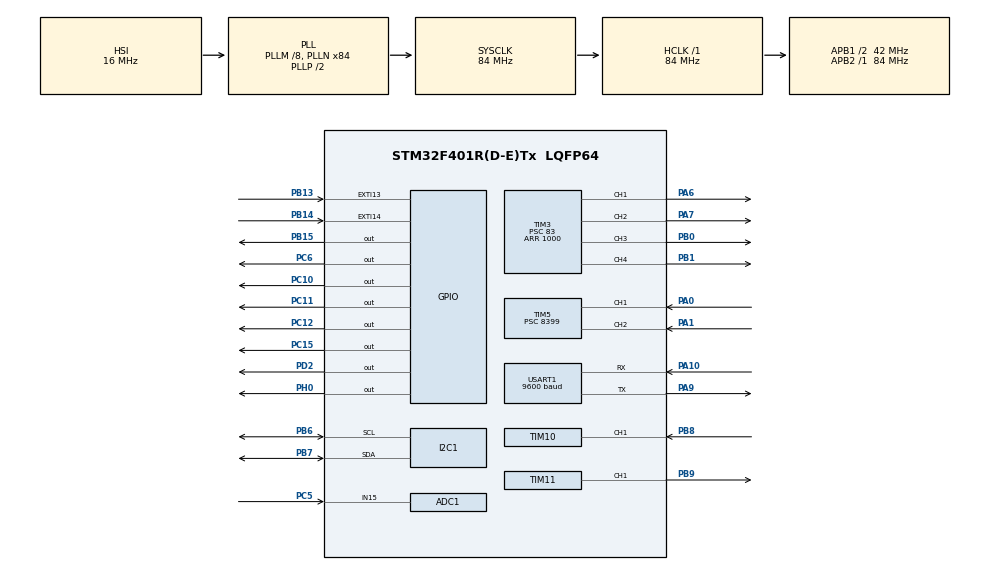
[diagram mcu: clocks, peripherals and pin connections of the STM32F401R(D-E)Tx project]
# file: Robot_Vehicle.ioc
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ADC1.Channel-4\#ChannelRegularConversion=ADC_CHANNEL_15
ADC1.ContinuousConvMode=ENABLE
ADC1.DMAContinuousRequests=ENABLE
ADC1.NbrOfConversionFlag=1
ADC1.Rank-4\#ChannelRegularConversion=1
ADC1.Resolution=ADC_RESOLUTION_8B
ADC1.SamplingTime-4\#ChannelRegularConversion=ADC_SAMPLETIME_3CYCLES
ADC1.ScanConvMode=ENABLE
ADC1.master=1
Dma.ADC1.2.Direction=DMA_PERIPH_TO_MEMORY
Dma.ADC1.2.FIFOMode=DMA_FIFOMODE_DISABLE
Dma.ADC1.2.Instance=DMA2_Stream0
Dma.ADC1.2.MemDataAlignment=DMA_MDATAALIGN_BYTE
Dma.ADC1.2.MemInc=DMA_MINC_DISABLE
Dma.ADC1.2.Mode=DMA_CIRCULAR
Dma.ADC1.2.PeriphDataAlignment=DMA_PDATAALIGN_BYTE
Dma.ADC1.2.PeriphInc=DMA_PINC_DISABLE
Dma.ADC1.2.Priority=DMA_PRIORITY_LOW
Dma.Request0=TIM5_CH1
Dma.Request1=TIM5_CH2
Dma.Request2=ADC1
Dma.TIM5_CH1.0.Direction=DMA_PERIPH_TO_MEMORY
Dma.TIM5_CH1.0.FIFOMode=DMA_FIFOMODE_DISABLE
Dma.TIM5_CH1.0.Instance=DMA1_Stream2
Dma.TIM5_CH1.0.MemDataAlignment=DMA_MDATAALIGN_WORD
Dma.TIM5_CH1.0.MemInc=DMA_MINC_DISABLE
Dma.TIM5_CH1.0.Mode=DMA_CIRCULAR
Dma.TIM5_CH1.0.PeriphDataAlignment=DMA_PDATAALIGN_WORD
Dma.TIM5_CH1.0.PeriphInc=DMA_PINC_DISABLE
Dma.TIM5_CH1.0.Priority=DMA_PRIORITY_LOW
Dma.TIM5_CH2.1.Direction=DMA_PERIPH_TO_MEMORY
Dma.TIM5_CH2.1.FIFOMode=DMA_FIFOMODE_DISABLE
Dma.TIM5_CH2.1.Instance=DMA1_Stream4
Dma.TIM5_CH2.1.MemDataAlignment=DMA_MDATAALIGN_WORD
Dma.TIM5_CH2.1.MemInc=DMA_MINC_DISABLE
Dma.TIM5_CH2.1.Mode=DMA_CIRCULAR
Dma.TIM5_CH2.1.PeriphDataAlignment=DMA_PDATAALIGN_WORD
Dma.TIM5_CH2.1.PeriphInc=DMA_PINC_DISABLE
Dma.TIM5_CH2.1.Priority=DMA_PRIORITY_LOW
FREERTOS.INCLUDE_eTaskGetState=0
FREERTOS.INCLUDE_xEventGroupSetBitFromISR=1
FREERTOS.INCLUDE_xTaskGetHandle=1
FREERTOS.INCLUDE_xTimerPendFunctionCall=1
FREERTOS.Tasks01=UltrasonicDistance,0,128,ultrasonic_dis,Default,NULL,Dynamic,NULL,NULL;LineTracking,0,128,line_tracking,Default,NULL,Dynamic,NULL,NULL;Accelerometer,0,160,accelerometer,Default,NULL,Dynamic,NULL,NULL;Motors,0,400,motors,Default,NULL,Dynamic,NULL,NULL;Encoders,0,200,encoders,Default,NULL,Dynamic,NULL,NULL;UART_task,0,128,uart_task,Default,NULL,Dynamic,NULL,NULL;PID_regulation,0,200,pid,Default,NULL,Dynamic,NULL,NULL
FREERTOS.configMAX_TASK_NAME_LEN=24
FREERTOS.configTIMER_TASK_PRIORITY=3
FREERTOS.configTIMER_TASK_STACK_DEPTH=128
FREERTOS.configTOTAL_HEAP_SIZE=9000
FREERTOS.configUSE_IDLE_HOOK=1
FREERTOS.configUSE_TIMERS=1
I2C1.I2C_Mode=I2C_Standard
Mcu.Family=STM32F4
Mcu.Name=STM32F401R(D-E)Tx
Mcu.Package=LQFP64
NVIC.DMA1_Stream2_IRQn=true\:5\:0\:false\:false\:true\:true\:true\:true\:true
NVIC.DMA1_Stream4_IRQn=true\:5\:0\:false\:false\:true\:true\:true\:true\:true
NVIC.EXTI15_10_IRQn=true\:5\:0\:false\:false\:true\:true\:true\:true\:true
NVIC.PriorityGroup=NVIC_PRIORITYGROUP_4
NVIC.TIM1_TRG_COM_TIM11_IRQn=true\:5\:0\:false\:false\:true\:true\:true\:true\:true
NVIC.TIM1_UP_TIM10_IRQn=true\:5\:0\:false\:false\:true\:true\:true\:true\:true
NVIC.TIM2_IRQn=true\:1\:0\:true\:false\:true\:false\:false\:true\:true
NVIC.TimeBase=TIM2_IRQn
NVIC.TimeBaseIP=TIM2
NVIC.USART1_IRQn=true\:5\:0\:false\:false\:true\:true\:true\:true\:true
PA0-WKUP.Signal=S_TIM5_CH1
PA1.Signal=S_TIM5_CH2
PA10.Mode=Asynchronous
PA10.Signal=USART1_RX
PA13.Mode=Serial_Wire
PA13.Signal=SYS_JTMS-SWDIO
PA14.Mode=Serial_Wire
PA14.Signal=SYS_JTCK-SWCLK
PA6.GPIO_PuPd=GPIO_PULLUP
PA6.GPIO_Speed=GPIO_SPEED_FREQ_HIGH
PA6.Signal=S_TIM3_CH1
PA7.GPIO_PuPd=GPIO_PULLUP
PA7.GPIO_Speed=GPIO_SPEED_FREQ_HIGH
PA7.Signal=S_TIM3_CH2
PA9.Mode=Asynchronous
PA9.Signal=USART1_TX
PB0.GPIO_PuPd=GPIO_PULLUP
PB0.GPIO_Speed=GPIO_SPEED_FREQ_HIGH
PB0.Signal=S_TIM3_CH3
PB1.GPIO_PuPd=GPIO_PULLUP
PB1.GPIO_Speed=GPIO_SPEED_FREQ_HIGH
PB1.Signal=S_TIM3_CH4
PB13.GPIO_PuPd=GPIO_PULLDOWN
PB13.Signal=GPXTI13
PB14.GPIO_PuPd=GPIO_PULLDOWN
PB14.Signal=GPXTI14
PB15.Signal=GPIO_Output
PB6.Mode=I2C
PB6.Signal=I2C1_SCL
PB7.Mode=I2C
PB7.Signal=I2C1_SDA
PB8.GPIO_PuPd=GPIO_PULLDOWN
PB8.GPIO_Speed=GPIO_SPEED_FREQ_MEDIUM
PB8.Signal=S_TIM10_CH1
PB9.GPIO_PuPd=GPIO_PULLDOWN
PB9.GPIO_Speed=GPIO_SPEED_FREQ_HIGH
PB9.Signal=S_TIM11_CH1
PC10.Signal=GPIO_Output
PC11.Signal=GPIO_Output
PC12.Signal=GPIO_Output
PC15-OSC32_OUT.GPIO_PuPd=GPIO_NOPULL
PC15-OSC32_OUT.PinState=GPIO_PIN_RESET
PC15-OSC32_OUT.Signal=GPIO_Output
PC5.Signal=ADCx_IN15
PC6.GPIO_PuPd=GPIO_NOPULL
PC6.Signal=GPIO_Output
PD2.Signal=GPIO_Output
PH0\ -\ OSC_IN.GPIO_PuPd=GPIO_NOPULL
PH0\ -\ OSC_IN.PinState=GPIO_PIN_RESET
PH0\ -\ OSC_IN.Signal=GPIO_Output
ProjectManager.HeapSize=0x200
ProjectManager.StackSize=0x400
ProjectManager.TargetToolchain=STM32CubeIDE
RCC.48MHZClocksFreq_Value=42000000
RCC.AHBFreq_Value=84000000
RCC.APB1CLKDivider=RCC_HCLK_DIV2
RCC.APB1Freq_Value=42000000
RCC.APB1TimFreq_Value=84000000
RCC.APB2Freq_Value=84000000
RCC.APB2TimFreq_Value=84000000
RCC.CortexFreq_Value=84000000
RCC.HCLKFreq_Value=84000000
RCC.HSE_VALUE=25000000
RCC.HSI_VALUE=16000000
RCC.LSE_VALUE=32768
RCC.PLLM=8
RCC.PLLN=84
RCC.SYSCLKFreq_VALUE=84000000
RCC.SYSCLKSource=RCC_SYSCLKSOURCE_PLLCLK
RCC.VCOOutputFreq_Value=168000000
SH.ADCx_IN15.0=ADC1_IN15,IN15
SH.S_TIM10_CH1.0=TIM10_CH1,Input_Capture1_from_TI1
SH.S_TIM11_CH1.0=TIM11_CH1,PWM Generation1 CH1
SH.S_TIM3_CH1.0=TIM3_CH1,PWM Generation1 CH1
SH.S_TIM3_CH2.0=TIM3_CH2,PWM Generation2 CH2
SH.S_TIM3_CH3.0=TIM3_CH3,PWM Generation3 CH3
SH.S_TIM3_CH4.0=TIM3_CH4,PWM Generation4 CH4
SH.S_TIM5_CH1.0=TIM5_CH1,Input_Capture1_from_TI1
SH.S_TIM5_CH2.0=TIM5_CH2,Input_Capture2_from_TI2
TIM10.AutoReloadPreload=TIM_AUTORELOAD_PRELOAD_ENABLE
TIM10.Channel=TIM_CHANNEL_1
TIM10.ICFilter_CH1=0
TIM10.ICPolarity_CH1=TIM_INPUTCHANNELPOLARITY_BOTHEDGE
TIM10.Prescaler=194
TIM11.AutoReloadPreload=TIM_AUTORELOAD_PRELOAD_ENABLE
TIM11.Channel=TIM_CHANNEL_1
TIM11.OCPolarity_1=TIM_OCPOLARITY_HIGH
TIM11.Period=10000
TIM11.Prescaler=31
TIM11.Pulse=20
TIM3.AutoReloadPreload=TIM_AUTORELOAD_PRELOAD_ENABLE
TIM3.Channel-PWM\ Generation1\ CH1=TIM_CHANNEL_1
TIM3.Channel-PWM\ Generation2\ CH2=TIM_CHANNEL_2
TIM3.Channel-PWM\ Generation3\ CH3=TIM_CHANNEL_3
TIM3.Channel-PWM\ Generation4\ CH4=TIM_CHANNEL_4
TIM3.OCMode_PWM-PWM\ Generation1\ CH1=TIM_OCMODE_PWM2
TIM3.OCMode_PWM-PWM\ Generation2\ CH2=TIM_OCMODE_PWM2
TIM3.OCMode_PWM-PWM\ Generation3\ CH3=TIM_OCMODE_PWM2
TIM3.OCMode_PWM-PWM\ Generation4\ CH4=TIM_OCMODE_PWM2
TIM3.Period=1000
TIM3.Prescaler=83
TIM3.Pulse-PWM\ Generation1\ CH1=0
TIM3.Pulse-PWM\ Generation2\ CH2=0
TIM3.Pulse-PWM\ Generation3\ CH3=0
TIM3.Pulse-PWM\ Generation4\ CH4=0
TIM5.AutoReloadPreload=TIM_AUTORELOAD_PRELOAD_ENABLE
TIM5.Channel-Input_Capture1_from_TI1=TIM_CHANNEL_1
TIM5.Channel-Input_Capture2_from_TI2=TIM_CHANNEL_2
TIM5.ICPolarity_CH1=TIM_INPUTCHANNELPOLARITY_BOTHEDGE
TIM5.ICPolarity_CH2=TIM_INPUTCHANNELPOLARITY_BOTHEDGE
TIM5.Prescaler=8399
USART1.BaudRate=9600
USART1.VirtualMode=VM_ASYNC
VP_FREERTOS_VS_CMSIS_V1.Mode=CMSIS_V1
VP_SYS_VS_tim2.Mode=TIM2
VP_TIM10_VS_ClockSourceINT.Mode=Enable_Timer
VP_TIM11_VS_ClockSourceINT.Mode=Enable_Timer
VP_TIM3_VS_ClockSourceINT.Mode=Internal
board=custom

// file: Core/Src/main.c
/* USER CODE BEGIN Header */
/**
  ******************************************************************************
  * @file           : main.c
  * @brief          : Main program body
  ******************************************************************************
  * @attention
  *
  * Copyright (c) 2023 STMicroelectronics.
  * All rights reserved.
  *
  * This software is licensed under terms that can be found in the LICENSE file
  * in the root directory of this software component.
  * If no LICENSE file comes with this software, it is provided AS-IS.
  *
  ******************************************************************************
  */
/* USER CODE END Header */
#include "main.h"
#include "cmsis_os.h"

/* USER CODE BEGIN Includes */
#include "mma8452x.h"
#include <stdio.h>
#include <string.h>
#include <stdbool.h>
#include <math.h>
/* USER CODE END Includes */

/* USER CODE BEGIN PD */
#define MMA8452X_I2C_ADDRESS (0x1D<<1)
#define WHEEL_PERIMETER 204000000  // 204mm or 204000um or 204 000 000 nm
#define KP 0.4
#define KI 0.003
#define KD 0.1
/* USER CODE END PD */

ADC_HandleTypeDef hadc1;
DMA_HandleTypeDef hdma_adc1;

I2C_HandleTypeDef hi2c1;

TIM_HandleTypeDef htim3;
TIM_HandleTypeDef htim5;
TIM_HandleTypeDef htim10;
TIM_HandleTypeDef htim11;
DMA_HandleTypeDef hdma_tim5_ch1;
DMA_HandleTypeDef hdma_tim5_ch2;

UART_HandleTypeDef huart1;

osThreadId UltrasonicDistanceHandle;
osThreadId LineTrackingHandle;
osThreadId AccelerometerHandle;
osThreadId MotorsHandle;
osThreadId EncodersHandle;
osThreadId UART_taskHandle;
osThreadId PID_regulationHandle;
/* USER CODE BEGIN PV */
typedef struct
{
	QueueHandle_t xQueue1_ultrs;
	uint16_t distance_ultrs;
	TimerHandle_t xTimer1_ultrs;
	char instruction_for_motors[11];
	QueueHandle_t xQueue2_instr4m;
	int x;
	int y;
	int pw;
	uint16_t wanted_speedA;
	uint16_t wanted_speedB;
	uint32_t encod_dataA;
	uint32_t encod_dataB;
	uint32_t encod_olddataA;
	uint32_t encod_olddataB;
	uint32_t encod_timeA;
	uint32_t encod_timeB;
	int32_t angular_speedA;
	int32_t angular_speedB;
	TimerHandle_t xTimer2_encod;
	uint8_t line_data;
	int8_t accelerm_data[6];
	EventGroupHandle_t xEventGroup1;
}buffer_global_type;
buffer_global_type buffer;

/* USER CODE END PV */

void SystemClock_Config(void);
static void MX_GPIO_Init(void);
static void MX_DMA_Init(void);
static void MX_TIM10_Init(void);
static void MX_USART1_UART_Init(void);
static void MX_TIM11_Init(void);
static void MX_TIM3_Init(void);
static void MX_I2C1_Init(void);
static void MX_TIM5_Init(void);
static void MX_ADC1_Init(void);
void ultrasonic_dis(void const * argument);
void line_tracking(void const * argument);
void accelerometer(void const * argument);
void motors(void const * argument);
void encoders(void const * argument);
void uart_task(void const * argument);
void pid(void const * argument);

/* USER CODE BEGIN PFP */
void HAL_TIM_IC_CaptureCallback (TIM_HandleTypeDef * htim);
void HAL_TIM_PWM_PulseFinishedCallback (TIM_HandleTypeDef * htim);
void vApplicationIdleHook(void);
void vCallbackFunctionTimer1( TimerHandle_t xTimer );
void UART_RxCallback (UART_HandleTypeDef * huart);
void DMA1_Stream2_Callback(DMA_HandleTypeDef*);
void DMA1_Stream4_Callback(DMA_HandleTypeDef*);
void vCallbackFunctionTimer2( TimerHandle_t xTimer );
/* USER CODE END PFP */

int main(void)
{
  /* USER CODE BEGIN 1 */
	buffer.x = 50;
    buffer.y = 50;
  /* USER CODE END 1 */

  /* MCU Configuration--------------------------------------------------------*/

  /* Reset of all peripherals, Initializes the Flash interface and the Systick. */
  HAL_Init();

  /* Configure the system clock */
  SystemClock_Config();

  /* Initialize all configured peripherals */
  MX_GPIO_Init();
  MX_DMA_Init();
  MX_TIM10_Init();
  MX_USART1_UART_Init();
  MX_TIM11_Init();
  MX_TIM3_Init();
  MX_I2C1_Init();
  MX_TIM5_Init();
  MX_ADC1_Init();
  /* USER CODE BEGIN 2 */
  HAL_I2C_DeInit(&hi2c1);
  HAL_TIM_IC_Start_IT(&htim10, TIM_CHANNEL_1);
  GPIOC->ODR |= GPIO_ODR_OD10;
  GPIOC->ODR |= GPIO_ODR_OD12;
  GPIOC->ODR |= GPIO_ODR_OD11;
  GPIOD->ODR |= GPIO_ODR_OD2;
  GPIOB->ODR |= GPIO_ODR_OD15;
  GPIOC->ODR |= GPIO_ODR_OD6;
  if (HAL_DMA_Init(&hdma_adc1) != HAL_OK)
  {
    Error_Handler();
  }

  __HAL_LINKDMA(&hadc1,DMA_Handle,hdma_adc1);
  HAL_ADC_Start_DMA(&hadc1, (uint32_t*)&buffer.line_data, 1);

  SCB->CCR |= (1<<1); //Bit 1 USERSETMPEND Enables unprivileged software access to the STIR, see Software trigger interrupt register (NVIC_STIR)

  HAL_TIM_IC_Start_DMA(&htim5, TIM_CHANNEL_1, &buffer.encod_dataA, sizeof(buffer.encod_dataA));
  HAL_TIM_IC_Start_DMA(&htim5, TIM_CHANNEL_2, &buffer.encod_dataB, sizeof(buffer.encod_dataB));
  HAL_TIM_PWM_Start(&htim3, TIM_CHANNEL_2);
  HAL_TIM_PWM_Start(&htim3, TIM_CHANNEL_4);

  while((FLASH->SR & FLASH_SR_BSY) == (1<<16))
  {
	  HAL_Delay(1);
  }
  HAL_FLASH_Unlock();
  //Sector 6 0x0804 0000 - 0x0805 FFFF 128 Kbytes
  FLASH_EraseInitTypeDef pEraseInit =
		  {
				  FLASH_TYPEERASE_SECTORS,
				  FLASH_BANK_1,
				  FLASH_SECTOR_6,
				  1,
				  FLASH_VOLTAGE_RANGE_2
		  };
  uint32_t SectorError = 0;
  uint8_t* reset_state = 0x08040000; // Start of Sector 6 in FLASH
  if(*reset_state == 0xFF)
  {
	  HAL_FLASH_Program(FLASH_TYPEPROGRAM_BYTE, (uint32_t)reset_state, 0x00);
	  // Perform software reset
	  NVIC_SystemReset();
  }
  HAL_FLASHEx_Erase(&pEraseInit, &SectorError);
  HAL_Delay(1500);
  HAL_FLASH_Lock();

  buffer.xEventGroup1 = xEventGroupCreate();
  /* USER CODE END 2 */

  /* USER CODE BEGIN RTOS_TIMERS */
  /* start timers, add new ones, ... */
  buffer.xTimer1_ultrs = xTimerCreate("Timer ultrs trigger", pdMS_TO_TICKS( 40 ), pdTRUE, ( void * ) 0, vCallbackFunctionTimer1);
  xTimerStart(buffer.xTimer1_ultrs, portMAX_DELAY);

  buffer.xTimer2_encod = xTimerCreate("Timer encoder", pdMS_TO_TICKS( 10 ), pdTRUE, ( void * ) 0, vCallbackFunctionTimer2);
  xTimerStart(buffer.xTimer2_encod, portMAX_DELAY);
  /* USER CODE END RTOS_TIMERS */

  /* USER CODE BEGIN RTOS_QUEUES */
  /* add queues, ... */
  buffer.xQueue1_ultrs = xQueueCreate(10, sizeof(uint16_t));
  buffer.xQueue2_instr4m = xQueueCreate(40, sizeof(uint8_t));

  /* USER CODE END RTOS_QUEUES */

  /* Create the thread(s) */
  /* definition and creation of UltrasonicDistance */
  osThreadDef(UltrasonicDistance, ultrasonic_dis, osPriorityNormal, 0, 128);
  UltrasonicDistanceHandle = osThreadCreate(osThread(UltrasonicDistance), NULL);

  /* definition and creation of LineTracking */
  osThreadDef(LineTracking, line_tracking, osPriorityNormal, 0, 128);
  LineTrackingHandle = osThreadCreate(osThread(LineTracking), NULL);

  /* definition and creation of Accelerometer */
  osThreadDef(Accelerometer, accelerometer, osPriorityNormal, 0, 160);
  AccelerometerHandle = osThreadCreate(osThread(Accelerometer), NULL);

  /* definition and creation of Motors */
  osThreadDef(Motors, motors, osPriorityNormal, 0, 400);
  MotorsHandle = osThreadCreate(osThread(Motors), NULL);

  /* definition and creation of Encoders */
  osThreadDef(Encoders, encoders, osPriorityNormal, 0, 200);
  EncodersHandle = osThreadCreate(osThread(Encoders), NULL);

  /* definition and creation of UART_task */
  osThreadDef(UART_task, uart_task, osPriorityNormal, 0, 128);
  UART_taskHandle = osThreadCreate(osThread(UART_task), NULL);

  /* definition and creation of PID_regulation */
  osThreadDef(PID_regulation, pid, osPriorityNormal, 0, 200);
  PID_regulationHandle = osThreadCreate(osThread(PID_regulation), NULL);

  /* Start scheduler */
  osKernelStart();
  /* We should never get here as control is now taken by the scheduler */
  /* Infinite loop */
  while (1)
  {

  }
}

void SystemClock_Config(void)
{
  RCC_OscInitTypeDef RCC_OscInitStruct = {0};
  RCC_ClkInitTypeDef RCC_ClkInitStruct = {0};

  /** Configure the main internal regulator output voltage
  */
  __HAL_RCC_PWR_CLK_ENABLE();
  __HAL_PWR_VOLTAGESCALING_CONFIG(PWR_REGULATOR_VOLTAGE_SCALE2);

  /** Initializes the RCC Oscillators according to the specified parameters
  * in the RCC_OscInitTypeDef structure.
  */
  RCC_OscInitStruct.OscillatorType = RCC_OSCILLATORTYPE_HSI;
  RCC_OscInitStruct.HSIState = RCC_HSI_ON;
  RCC_OscInitStruct.HSICalibrationValue = RCC_HSICALIBRATION_DEFAULT;
  RCC_OscInitStruct.PLL.PLLState = RCC_PLL_ON;
  RCC_OscInitStruct.PLL.PLLSource = RCC_PLLSOURCE_HSI;
  RCC_OscInitStruct.PLL.PLLM = 8;
  RCC_OscInitStruct.PLL.PLLN = 84;
  RCC_OscInitStruct.PLL.PLLP = RCC_PLLP_DIV2;
  RCC_OscInitStruct.PLL.PLLQ = 4;
  if (HAL_RCC_OscConfig(&RCC_OscInitStruct) != HAL_OK)
  {
    Error_Handler();
  }

  /** Initializes the CPU, AHB and APB buses clocks
  */
  RCC_ClkInitStruct.ClockType = RCC_CLOCKTYPE_HCLK|RCC_CLOCKTYPE_SYSCLK
                              |RCC_CLOCKTYPE_PCLK1|RCC_CLOCKTYPE_PCLK2;
  RCC_ClkInitStruct.SYSCLKSource = RCC_SYSCLKSOURCE_PLLCLK;
  RCC_ClkInitStruct.AHBCLKDivider = RCC_SYSCLK_DIV1;
  RCC_ClkInitStruct.APB1CLKDivider = RCC_HCLK_DIV2;
  RCC_ClkInitStruct.APB2CLKDivider = RCC_HCLK_DIV1;

  if (HAL_RCC_ClockConfig(&RCC_ClkInitStruct, FLASH_LATENCY_2) != HAL_OK)
  {
    Error_Handler();
  }
}

static void MX_ADC1_Init(void)
{

  ADC_ChannelConfTypeDef sConfig = {0};

  /** Configure the global features of the ADC (Clock, Resolution, Data Alignment and number of conversion)
  */
  hadc1.Instance = ADC1;
  hadc1.Init.ClockPrescaler = ADC_CLOCK_SYNC_PCLK_DIV4;
  hadc1.Init.Resolution = ADC_RESOLUTION_8B;
  hadc1.Init.ScanConvMode = ENABLE;
  hadc1.Init.ContinuousConvMode = ENABLE;
  hadc1.Init.DiscontinuousConvMode = DISABLE;
  hadc1.Init.ExternalTrigConvEdge = ADC_EXTERNALTRIGCONVEDGE_NONE;
  hadc1.Init.ExternalTrigConv = ADC_SOFTWARE_START;
  hadc1.Init.DataAlign = ADC_DATAALIGN_RIGHT;
  hadc1.Init.NbrOfConversion = 1;
  hadc1.Init.DMAContinuousRequests = ENABLE;
  hadc1.Init.EOCSelection = ADC_EOC_SINGLE_CONV;
  if (HAL_ADC_Init(&hadc1) != HAL_OK)
  {
    Error_Handler();
  }

  /** Configure for the selected ADC regular channel its corresponding rank in the sequencer and its sample time.
  */
  sConfig.Channel = ADC_CHANNEL_15;
  sConfig.Rank = 1;
  sConfig.SamplingTime = ADC_SAMPLETIME_3CYCLES;
  if (HAL_ADC_ConfigChannel(&hadc1, &sConfig) != HAL_OK)
  {
    Error_Handler();
  }

}

static void MX_I2C1_Init(void)
{

  hi2c1.Instance = I2C1;
  hi2c1.Init.ClockSpeed = 100000;
  hi2c1.Init.DutyCycle = I2C_DUTYCYCLE_2;
  hi2c1.Init.OwnAddress1 = 0;
  hi2c1.Init.AddressingMode = I2C_ADDRESSINGMODE_7BIT;
  hi2c1.Init.DualAddressMode = I2C_DUALADDRESS_DISABLE;
  hi2c1.Init.OwnAddress2 = 0;
  hi2c1.Init.GeneralCallMode = I2C_GENERALCALL_DISABLE;
  hi2c1.Init.NoStretchMode = I2C_NOSTRETCH_DISABLE;
  if (HAL_I2C_Init(&hi2c1) != HAL_OK)
  {
    Error_Handler();
  }

}

static void MX_TIM3_Init(void)
{

  TIM_ClockConfigTypeDef sClockSourceConfig = {0};
  TIM_MasterConfigTypeDef sMasterConfig = {0};
  TIM_OC_InitTypeDef sConfigOC = {0};

  htim3.Instance = TIM3;
  htim3.Init.Prescaler = 83;
  htim3.Init.CounterMode = TIM_COUNTERMODE_UP;
  htim3.Init.Period = 1000;
  htim3.Init.ClockDivision = TIM_CLOCKDIVISION_DIV1;
  htim3.Init.AutoReloadPreload = TIM_AUTORELOAD_PRELOAD_ENABLE;
  if (HAL_TIM_Base_Init(&htim3) != HAL_OK)
  {
    Error_Handler();
  }
  sClockSourceConfig.ClockSource = TIM_CLOCKSOURCE_INTERNAL;
  if (HAL_TIM_ConfigClockSource(&htim3, &sClockSourceConfig) != HAL_OK)
  {
    Error_Handler();
  }
  if (HAL_TIM_PWM_Init(&htim3) != HAL_OK)
  {
    Error_Handler();
  }
  sMasterConfig.MasterOutputTrigger = TIM_TRGO_RESET;
  sMasterConfig.MasterSlaveMode = TIM_MASTERSLAVEMODE_DISABLE;
  if (HAL_TIMEx_MasterConfigSynchronization(&htim3, &sMasterConfig) != HAL_OK)
  {
    Error_Handler();
  }
  sConfigOC.OCMode = TIM_OCMODE_PWM2;
  sConfigOC.Pulse = 0;
  sConfigOC.OCPolarity = TIM_OCPOLARITY_HIGH;
  sConfigOC.OCFastMode = TIM_OCFAST_DISABLE;
  if (HAL_TIM_PWM_ConfigChannel(&htim3, &sConfigOC, TIM_CHANNEL_1) != HAL_OK)
  {
    Error_Handler();
  }
  if (HAL_TIM_PWM_ConfigChannel(&htim3, &sConfigOC, TIM_CHANNEL_2) != HAL_OK)
  {
    Error_Handler();
  }
  if (HAL_TIM_PWM_ConfigChannel(&htim3, &sConfigOC, TIM_CHANNEL_3) != HAL_OK)
  {
    Error_Handler();
  }
  if (HAL_TIM_PWM_ConfigChannel(&htim3, &sConfigOC, TIM_CHANNEL_4) != HAL_OK)
  {
    Error_Handler();
  }
  HAL_TIM_MspPostInit(&htim3);

}

static void MX_TIM5_Init(void)
{

  TIM_MasterConfigTypeDef sMasterConfig = {0};
  TIM_IC_InitTypeDef sConfigIC = {0};

  htim5.Instance = TIM5;
  htim5.Init.Prescaler = 8399;
  htim5.Init.CounterMode = TIM_COUNTERMODE_UP;
  htim5.Init.Period = 4294967295;
  htim5.Init.ClockDivision = TIM_CLOCKDIVISION_DIV1;
  htim5.Init.AutoReloadPreload = TIM_AUTORELOAD_PRELOAD_ENABLE;
  if (HAL_TIM_IC_Init(&htim5) != HAL_OK)
  {
    Error_Handler();
  }
  sMasterConfig.MasterOutputTrigger = TIM_TRGO_RESET;
  sMasterConfig.MasterSlaveMode = TIM_MASTERSLAVEMODE_DISABLE;
  if (HAL_TIMEx_MasterConfigSynchronization(&htim5, &sMasterConfig) != HAL_OK)
  {
    Error_Handler();
  }
  sConfigIC.ICPolarity = TIM_INPUTCHANNELPOLARITY_BOTHEDGE;
  sConfigIC.ICSelection = TIM_ICSELECTION_DIRECTTI;
  sConfigIC.ICPrescaler = TIM_ICPSC_DIV1;
  sConfigIC.ICFilter = 0;
  if (HAL_TIM_IC_ConfigChannel(&htim5, &sConfigIC, TIM_CHANNEL_1) != HAL_OK)
  {
    Error_Handler();
  }
  if (HAL_TIM_IC_ConfigChannel(&htim5, &sConfigIC, TIM_CHANNEL_2) != HAL_OK)
  {
    Error_Handler();
  }

}

static void MX_TIM10_Init(void)
{

  TIM_IC_InitTypeDef sConfigIC = {0};

  htim10.Instance = TIM10;
  htim10.Init.Prescaler = 194;
  htim10.Init.CounterMode = TIM_COUNTERMODE_UP;
  htim10.Init.Period = 65535;
  htim10.Init.ClockDivision = TIM_CLOCKDIVISION_DIV1;
  htim10.Init.AutoReloadPreload = TIM_AUTORELOAD_PRELOAD_ENABLE;
  if (HAL_TIM_Base_Init(&htim10) != HAL_OK)
  {
    Error_Handler();
  }
  if (HAL_TIM_IC_Init(&htim10) != HAL_OK)
  {
    Error_Handler();
  }
  sConfigIC.ICPolarity = TIM_INPUTCHANNELPOLARITY_BOTHEDGE;
  sConfigIC.ICSelection = TIM_ICSELECTION_DIRECTTI;
  sConfigIC.ICPrescaler = TIM_ICPSC_DIV1;
  sConfigIC.ICFilter = 0;
  if (HAL_TIM_IC_ConfigChannel(&htim10, &sConfigIC, TIM_CHANNEL_1) != HAL_OK)
  {
    Error_Handler();
  }

}

static void MX_TIM11_Init(void)
{

  TIM_OC_InitTypeDef sConfigOC = {0};

  htim11.Instance = TIM11;
  htim11.Init.Prescaler = 31;
  htim11.Init.CounterMode = TIM_COUNTERMODE_UP;
  htim11.Init.Period = 10000;
  htim11.Init.ClockDivision = TIM_CLOCKDIVISION_DIV1;
  htim11.Init.AutoReloadPreload = TIM_AUTORELOAD_PRELOAD_ENABLE;
  if (HAL_TIM_Base_Init(&htim11) != HAL_OK)
  {
    Error_Handler();
  }
  if (HAL_TIM_PWM_Init(&htim11) != HAL_OK)
  {
    Error_Handler();
  }
  sConfigOC.OCMode = TIM_OCMODE_PWM1;
  sConfigOC.Pulse = 20;
  sConfigOC.OCPolarity = TIM_OCPOLARITY_HIGH;
  sConfigOC.OCFastMode = TIM_OCFAST_DISABLE;
  if (HAL_TIM_PWM_ConfigChannel(&htim11, &sConfigOC, TIM_CHANNEL_1) != HAL_OK)
  {
    Error_Handler();
  }
  HAL_TIM_MspPostInit(&htim11);

}

static void MX_USART1_UART_Init(void)
{

  huart1.Instance = USART1;
  huart1.Init.BaudRate = 9600;
  huart1.Init.WordLength = UART_WORDLENGTH_8B;
  huart1.Init.StopBits = UART_STOPBITS_1;
  huart1.Init.Parity = UART_PARITY_NONE;
  huart1.Init.Mode = UART_MODE_TX_RX;
  huart1.Init.HwFlowCtl = UART_HWCONTROL_NONE;
  huart1.Init.OverSampling = UART_OVERSAMPLING_16;
  if (HAL_UART_Init(&huart1) != HAL_OK)
  {
    Error_Handler();
  }
  /* USER CODE BEGIN USART1_Init 2 */
  USART1->CR1 |= USART_CR1_RXNEIE;
  /* USER CODE END USART1_Init 2 */

}

static void MX_DMA_Init(void)
{

  /* DMA controller clock enable */
  __HAL_RCC_DMA1_CLK_ENABLE();
  __HAL_RCC_DMA2_CLK_ENABLE();

  /* DMA interrupt init */
  /* DMA1_Stream2_IRQn interrupt configuration */
  HAL_NVIC_SetPriority(DMA1_Stream2_IRQn, 5, 0);
  HAL_NVIC_EnableIRQ(DMA1_Stream2_IRQn);
  /* DMA1_Stream4_IRQn interrupt configuration */
  HAL_NVIC_SetPriority(DMA1_Stream4_IRQn, 5, 0);
  HAL_NVIC_EnableIRQ(DMA1_Stream4_IRQn);

}

static void MX_GPIO_Init(void)
{
  GPIO_InitTypeDef GPIO_InitStruct = {0};

  /* GPIO Ports Clock Enable */
  __HAL_RCC_GPIOC_CLK_ENABLE();
  __HAL_RCC_GPIOH_CLK_ENABLE();
  __HAL_RCC_GPIOA_CLK_ENABLE();
  __HAL_RCC_GPIOB_CLK_ENABLE();
  __HAL_RCC_GPIOD_CLK_ENABLE();

  /*Configure GPIO pin Output Level */
  HAL_GPIO_WritePin(GPIOC, GPIO_PIN_15|GPIO_PIN_6|GPIO_PIN_10|GPIO_PIN_11
                          |GPIO_PIN_12, GPIO_PIN_RESET);

  /*Configure GPIO pin Output Level */
  HAL_GPIO_WritePin(GPIOH, GPIO_PIN_0, GPIO_PIN_RESET);

  /*Configure GPIO pin Output Level */
  HAL_GPIO_WritePin(GPIOB, GPIO_PIN_15, GPIO_PIN_RESET);

  /*Configure GPIO pin Output Level */
  HAL_GPIO_WritePin(GPIOD, GPIO_PIN_2, GPIO_PIN_RESET);

  /*Configure GPIO pins : PC15 PC6 PC10 PC11
                           PC12 */
  GPIO_InitStruct.Pin = GPIO_PIN_15|GPIO_PIN_6|GPIO_PIN_10|GPIO_PIN_11
                          |GPIO_PIN_12;
  GPIO_InitStruct.Mode = GPIO_MODE_OUTPUT_PP;
  GPIO_InitStruct.Pull = GPIO_NOPULL;
  GPIO_InitStruct.Speed = GPIO_SPEED_FREQ_LOW;
  HAL_GPIO_Init(GPIOC, &GPIO_InitStruct);

  /*Configure GPIO pin : PH0 */
  GPIO_InitStruct.Pin = GPIO_PIN_0;
  GPIO_InitStruct.Mode = GPIO_MODE_OUTPUT_PP;
  GPIO_InitStruct.Pull = GPIO_NOPULL;
  GPIO_InitStruct.Speed = GPIO_SPEED_FREQ_LOW;
  HAL_GPIO_Init(GPIOH, &GPIO_InitStruct);

  /*Configure GPIO pins : PB13 PB14 */
  GPIO_InitStruct.Pin = GPIO_PIN_13|GPIO_PIN_14;
  GPIO_InitStruct.Mode = GPIO_MODE_IT_RISING;
  GPIO_InitStruct.Pull = GPIO_PULLDOWN;
  HAL_GPIO_Init(GPIOB, &GPIO_InitStruct);

  /*Configure GPIO pin : PB15 */
  GPIO_InitStruct.Pin = GPIO_PIN_15;
  GPIO_InitStruct.Mode = GPIO_MODE_OUTPUT_PP;
  GPIO_InitStruct.Pull = GPIO_NOPULL;
  GPIO_InitStruct.Speed = GPIO_SPEED_FREQ_LOW;
  HAL_GPIO_Init(GPIOB, &GPIO_InitStruct);

  /*Configure GPIO pin : PD2 */
  GPIO_InitStruct.Pin = GPIO_PIN_2;
  GPIO_InitStruct.Mode = GPIO_MODE_OUTPUT_PP;
  GPIO_InitStruct.Pull = GPIO_NOPULL;
  GPIO_InitStruct.Speed = GPIO_SPEED_FREQ_LOW;
  HAL_GPIO_Init(GPIOD, &GPIO_InitStruct);

  /* EXTI interrupt init*/
  HAL_NVIC_SetPriority(EXTI15_10_IRQn, 5, 0);
  HAL_NVIC_EnableIRQ(EXTI15_10_IRQn);

}

/* USER CODE BEGIN 4 */
void HAL_TIM_IC_CaptureCallback (TIM_HandleTypeDef * htim)
{
	if(htim == &htim10 )
	{
		xQueueSendToBackFromISR(buffer.xQueue1_ultrs, (void*)(&(TIM10->CCR1)) ,NULL);
	}
}

void HAL_TIM_PWM_PulseFinishedCallback (TIM_HandleTypeDef * htim)
{
	if(htim == &htim11)
	{
		HAL_TIM_PWM_Stop_IT(&htim11, TIM_CHANNEL_1);
	}
}

void vCallbackFunctionTimer1( TimerHandle_t xTimer )
{
	HAL_TIM_PWM_Start_IT(&htim11, TIM_CHANNEL_1);
	xEventGroupSetBits(buffer.xEventGroup1, 0x40);

}

void vCallbackFunctionTimer2( TimerHandle_t xTimer )
{
	xEventGroupSetBits(buffer.xEventGroup1, 0x2);
}

void vApplicationIdleHook(void)
{
	__asm__ volatile("NOP");
}

void HAL_GPIO_EXTI_Callback(uint16_t GPIO_Pin)
{
	if(GPIO_Pin == GPIO_PIN_13) // Freefall/Motion interrupt
	{
		uint8_t result;
		HAL_I2C_Mem_Read(&hi2c1, (0x1D<<1), FF_MT_SRC, 1, &result, sizeof(uint8_t), 100);
		__asm__ volatile("NOP");
	}
	if(GPIO_Pin == GPIO_PIN_14) //Data ready
	{
		mma8452x_ReadData(&hi2c1, MMA8452X_I2C_ADDRESS, buffer.accelerm_data);
	}
}

void UART_RxCallback (UART_HandleTypeDef * huart)
{
	xQueueSendToBackFromISR(buffer.xQueue2_instr4m, (void*)(&(USART1->DR)) ,NULL);
}

void DMA1_Stream2_Callback(DMA_HandleTypeDef* hdma)
{
	buffer.encod_timeA = buffer.encod_dataA - buffer.encod_olddataA;
	buffer.angular_speedA = WHEEL_PERIMETER/(40*buffer.encod_timeA); // nm/(10^-4 * s)=10^-5 *m/s
	buffer.angular_speedA = buffer.angular_speedA/10; // 10^-1*mm/s or 10^-4 m/s
	buffer.encod_olddataA =buffer.encod_dataA;
}

void DMA1_Stream4_Callback(DMA_HandleTypeDef* hdma)
{
	buffer.encod_timeB = buffer.encod_dataB - buffer.encod_olddataB;
	buffer.angular_speedB = WHEEL_PERIMETER/(40*buffer.encod_timeB);
	buffer.angular_speedB = buffer.angular_speedB/10;
	buffer.encod_olddataB =buffer.encod_dataB;
}
/* USER CODE END 4 */

void ultrasonic_dis(void const * argument)
{
  /* USER CODE BEGIN 5 */
  /* Infinite loop */
  for(;;)
  {
	  xQueueReceive(buffer.xQueue1_ultrs, (void*)(&(buffer.distance_ultrs)), portMAX_DELAY);
	  uint16_t temp1 = buffer.distance_ultrs;
	  xQueueReceive(buffer.xQueue1_ultrs, (void*)(&(buffer.distance_ultrs)), portMAX_DELAY);
	  uint16_t temp2 = buffer.distance_ultrs;
	  uint16_t temp3 = temp2 - temp1;
	  char string_buff[30] = {0};
      sprintf(string_buff, "%d \r\n", temp3);
	  //HAL_UART_Transmit(&huart1, (uint8_t*) string_buff, sizeof(string_buff), 100);
	  xQueueReset(buffer.xQueue1_ultrs);
	  if(temp3 <150)
	  {
		  xEventGroupClearBits(buffer.xEventGroup1, 0x1);
		  vTaskSuspend(MotorsHandle);
		  vTaskSuspend(PID_regulationHandle);
		TIM3->CCR2 = 0;
		TIM3->CCR4 = 0;
		TIM3->CCR1 = 1000;
		TIM3->CCR3 = 1000;
		HAL_TIM_PWM_Start(&htim3, TIM_CHANNEL_1);
		HAL_TIM_PWM_Start(&htim3, TIM_CHANNEL_3);
		vTaskDelay(350);
		TIM3->CCR1 = 0;
		TIM3->CCR3 = 0;
		 HAL_TIM_PWM_Stop(&htim3, TIM_CHANNEL_1);
		 HAL_TIM_PWM_Stop(&htim3, TIM_CHANNEL_3);
		 vTaskResume(MotorsHandle);
		 vTaskResume(PID_regulationHandle);
	  }
	  else
	  {
		  xEventGroupSetBits(buffer.xEventGroup1, 0x1);
	  }
	  __asm__ volatile("NOP");
  }
  /* USER CODE END 5 */
}

void line_tracking(void const * argument)
{
  /* USER CODE BEGIN line_tracking */
  /* Infinite loop */
  for(;;)
  {
	  xEventGroupWaitBits(buffer.xEventGroup1, 0x40, pdTRUE, pdTRUE, portMAX_DELAY);
	  uint8_t result = 0;
	  result = buffer.line_data;
	  if(result > 100)
	  {
		  xEventGroupClearBits(buffer.xEventGroup1, 0x1);
		  vTaskSuspend(MotorsHandle);
		  vTaskSuspend(PID_regulationHandle);
		TIM3->CCR2 = 0;
		TIM3->CCR4 = 0;
		TIM3->CCR1 = 1000;
		TIM3->CCR3 = 1000;
		HAL_TIM_PWM_Start(&htim3, TIM_CHANNEL_1);
		HAL_TIM_PWM_Start(&htim3, TIM_CHANNEL_3);
		vTaskDelay(400);
		TIM3->CCR1 = 0;
		TIM3->CCR3 = 0;
		 HAL_TIM_PWM_Stop(&htim3, TIM_CHANNEL_1);
		 HAL_TIM_PWM_Stop(&htim3, TIM_CHANNEL_3);
		 vTaskResume(MotorsHandle);
		 vTaskResume(PID_regulationHandle);
	  }
	  else
	  {
		  xEventGroupSetBits(buffer.xEventGroup1, 0x1);
	  }
	  __asm__ volatile("NOP");
  }
  /* USER CODE END line_tracking */
}

void accelerometer(void const * argument)
{
  /* USER CODE BEGIN accelerometer */
	  HAL_StatusTypeDef result;
	  HAL_StatusTypeDef result2;
	  HAL_I2C_Init(&hi2c1);
	  mma8452x_Standby(&hi2c1, MMA8452X_I2C_ADDRESS);
	  mma8452x_DataFormat(&hi2c1, MMA8452X_I2C_ADDRESS, 1);
	  mma8452x_DataRateSelection(&hi2c1, MMA8452X_I2C_ADDRESS, 4); //Output Data Rate (ODR) 50Hz
	  mma8452x_InterruptPolarityConfig(&hi2c1, MMA8452X_I2C_ADDRESS, 1);
	  mma8452x_InterruptEnable(&hi2c1, MMA8452X_I2C_ADDRESS, EN_FF_MT, CFG_FF_MT);
	  mma8452x_InterruptEnable(&hi2c1, MMA8452X_I2C_ADDRESS, EN_DRDY, CFG_DEFAULT);
	  mma8452x_MotionDetectionConfig(&hi2c1, MMA8452X_I2C_ADDRESS, 0xF8, 0, 20, 2);
	  mma8452x_Active(&hi2c1, MMA8452X_I2C_ADDRESS);
	  taskYIELD();
  /* Infinite loop */
  for(;;)
  {
//	  HAL_I2C_Mem_Read(&hi2c1, (0x1D<<1), CTRL_REG1, 1, buffer.accelerm_data, sizeof(uint8_t), 100);
//	  result = HAL_I2C_Mem_Read(&hi2c1, (0x1D<<1), STATUS, 1, buffer.accelerm_data, sizeof(uint8_t), 100);
//	  HAL_I2C_Mem_Read(&hi2c1, (0x1D<<1), FF_MT_THS, 1, buffer.accelerm_data, sizeof(uint8_t), 100);
//	  HAL_I2C_Mem_Read(&hi2c1, (0x1D<<1), FF_MT_SRC, 1, buffer.accelerm_data, sizeof(uint8_t), 100);
//	  vTaskDelay(5);
//	  mma8452x_ReadData(&hi2c1, MMA8452X_I2C_ADDRESS, buffer.accelerm_data);
//	  vTaskDelay(30);
//	  taskYIELD();
	  vTaskSuspend(AccelerometerHandle);
  }
  /* USER CODE END accelerometer */
}

void motors(void const * argument)
{
  /* USER CODE BEGIN motors */

  /* Infinite loop */
  for(;;)
  {
	  char buff;
	  xQueuePeek(buffer.xQueue2_instr4m, (void*)&buff, portMAX_DELAY);
	  xEventGroupWaitBits(buffer.xEventGroup1, 0x1, pdFALSE, pdTRUE, portMAX_DELAY);
	  if(buff == 'I')
	  {
		  uint8_t i = 0;
		  while(buff != 'i')
		  {
			  xQueuePeek(buffer.xQueue2_instr4m, (void*)&buff, 50);
			  xQueueReceive(buffer.xQueue2_instr4m, (void*)(&(buffer.instruction_for_motors[i])), portMAX_DELAY);
			  i == 10 ? i = 0 : i++;
		  }
		  sscanf(buffer.instruction_for_motors, "IX%dY%di", &buffer.x, &buffer.y);
		  buff = 0;
	  }
	  else
	  {
		  char trash;
		  xQueueReceive(buffer.xQueue2_instr4m, (void*)(&(trash)), 1);
	  }

	  buffer.x = buffer.x - 50;
	  buffer.y = (buffer.y - 50)*-1;
	  buffer.pw = (int)(sqrt(pow(buffer.x,2) + pow(buffer.y,2)));
	  if(buffer.pw > 50) buffer.pw = 50;
	  __asm__ volatile("NOP");

	  if(buffer.y>=0)  // A motor CH3,CH4,  B motor CH1, CH2 encodCH2 B
	  {
		  if(buffer.x>=0)
		  {
			  buffer.wanted_speedB = (400/50)*buffer.pw-(400/50)*buffer.x+600;
			  buffer.wanted_speedA = (400/50)*buffer.pw+600;
			  if(buffer.x >= 40)
			  {
				  buffer.wanted_speedB = 0;
			  }
			  else if(buffer.x <=8 && buffer.pw >=45)
			  {
				  buffer.wanted_speedB = 1000;
				  buffer.wanted_speedA = 1000;
			  }
			 if(buffer.pw <=5)
			 {
				 buffer.wanted_speedB = 0;
				 buffer.wanted_speedA = 0;
			 }
		  }
		  else if(buffer.x<0)
		  {
			 buffer.wanted_speedB = (400/50)*buffer.pw+600;
			 buffer.wanted_speedA = (400/50)*buffer.pw+(400/50)*buffer.x+600;
			 if(buffer.x <= -40)
			 {
				 buffer.wanted_speedA = 0;
			 }
			  else if(buffer.x >=-8 && buffer.pw >=45)
			  {
				  buffer.wanted_speedB = 1000;
				  buffer.wanted_speedA = 1000;
			  }
			 if(buffer.pw <=5)
			 {
				 buffer.wanted_speedB = 0;
				 buffer.wanted_speedA = 0;
			 }
		  }
	  }
	  else if(buffer.y<0)
	  {
		  if(buffer.x>=0)
		  {

		  }
		  else if(buffer.x<0)
		  {

		  }
	  }
  }
  /* USER CODE END motors */
}

void encoders(void const * argument)
{
  /* USER CODE BEGIN encoders */

  /* Infinite loop */
  for(;;)
  {
	  xEventGroupWaitBits(buffer.xEventGroup1, 0x2, pdTRUE, pdTRUE, portMAX_DELAY);
	  if(TIM5->CNT - buffer.encod_dataA >= 1000)  //100ms
	  {
		  buffer.angular_speedA = 0;
	  }
	  if(TIM5->CNT - buffer.encod_dataB >= 1000) //100ms
	  {
		  buffer.angular_speedB = 0;
	  }
  }
  /* USER CODE END encoders */
}

void uart_task(void const * argument)
{
  /* USER CODE BEGIN uart_task */
  /* Infinite loop */
  for(;;)
  {
//	  char string_buff[20] = {0};
//	  sprintf(string_buff, " %d %d ", buffer.encod_data[0], buffer.encod_data[1]);
//	  HAL_UART_Transmit(&huart1, (uint8_t*) string_buff, sizeof(string_buff), 100);
	  char string_buff2[20] = {0};
	  sprintf(string_buff2, " %d %d %d ", buffer.accelerm_data[0], buffer.accelerm_data[1], buffer.accelerm_data[2]);
	  HAL_UART_Transmit(&huart1, (uint8_t*) string_buff2, sizeof(string_buff2), 100);
	  char string_buff3[20] = {0};
	  sprintf(string_buff3, " %d %d \n", buffer.angular_speedA, buffer.angular_speedB);
	  HAL_UART_Transmit(&huart1, (uint8_t*) string_buff3, sizeof(string_buff3), 100);
	  vTaskDelay(160);
  }
  /* USER CODE END uart_task */
}

void pid(void const * argument)
{
  /* USER CODE BEGIN pid */
	int16_t errorA = 0;
	int16_t errorB = 0;
	int16_t processed_speedA = 0;
	int16_t processed_speedB = 0;
	int32_t I_errorA = 0;
	int32_t I_errorB = 0;
	int16_t D_errorA = 0;
	int16_t D_errorB = 0;
	int16_t olderrorA = 0;
	int16_t olderrorB = 0;
  /* Infinite loop */
  for(;;)  //210 mm/s or 2100 10^-4*m/s is max speed --- 1000 in CCRx register
  {
	  xEventGroupWaitBits(buffer.xEventGroup1, 0x1, pdFALSE, pdTRUE, portMAX_DELAY);
	  errorA = ((uint16_t)(buffer.wanted_speedA*2.1)) -buffer.angular_speedA;
	  I_errorA += errorA;
	  if(KI*I_errorA >1000) I_errorA = (int32_t) 1000/KI;
	  else if (KI*I_errorA < -1000) I_errorA = (int32_t) -1000/KI;
	  D_errorA = errorA - olderrorA;
	  errorB = ((uint16_t)(buffer.wanted_speedB*2.1)) -buffer.angular_speedB;
	  I_errorB += errorB;
	  if(KI*I_errorB >1000) I_errorB = (int32_t) 1000/KI;
	  else if (KI*I_errorB < -1000) I_errorB = (int32_t) -1000/KI;
	  D_errorB = errorB - olderrorB;
	  processed_speedA = KP*errorA + KI*I_errorA + KD*D_errorA;
	  processed_speedB = KP*errorB + KI*I_errorB + KD*D_errorB;
	  if(errorB>10)
	  {
		  __asm__ volatile("NOP");
	  }
	  olderrorA = errorA;
	  olderrorB = errorB;

	  if(processed_speedA > 1000)
	  {
		  processed_speedA = 1000;
	  }
	  else if(processed_speedA < -1000)
	  {
		  processed_speedA = -1000;
	  }
	  if(processed_speedB > 1000)
	  {
		  processed_speedB = 1000;
	  }
	  else if(processed_speedB < -1000)
	  {
		  processed_speedB = -1000;
	  }

	  if((int)(TIM3->CCR2 + processed_speedB) > 1000)
	  {
		  TIM3->CCR2 = 1000;
	  }
	  else if((int)(TIM3->CCR2 + processed_speedB) < 0)
	  {
		  TIM3->CCR2 = 0;
	  }
	  else
	  {
		  TIM3->CCR2 += processed_speedB;
	  }
	  if((int)(TIM3->CCR4 + processed_speedB) > 1000)
	  {
		  TIM3->CCR4 = 1000;
	  }
	  else if((int)(TIM3->CCR4 + processed_speedB) < 0)
	  {
		  TIM3->CCR4 = 0;
	  }
	  else
	  {
		  TIM3->CCR4 += processed_speedA;
	  }
	  vTaskDelay(10);
  }
  /* USER CODE END pid */
}

void HAL_TIM_PeriodElapsedCallback(TIM_HandleTypeDef *htim)
{
  if (htim->Instance == TIM2) {
    HAL_IncTick();
  }
}

void Error_Handler(void)
{
  __disable_irq();
  while (1)
  {
  }
}

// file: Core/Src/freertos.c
/* USER CODE BEGIN Header */
/**
  ******************************************************************************
  * File Name          : freertos.c
  * Description        : Code for freertos applications
  ******************************************************************************
  * @attention
  *
  * Copyright (c) 2023 STMicroelectronics.
  * All rights reserved.
  *
  * This software is licensed under terms that can be found in the LICENSE file
  * in the root directory of this software component.
  * If no LICENSE file comes with this software, it is provided AS-IS.
  *
  ******************************************************************************
  */
/* USER CODE END Header */

#include "FreeRTOS.h"
#include "task.h"
#include "main.h"

/* GetIdleTaskMemory prototype (linked to static allocation support) */
void vApplicationGetIdleTaskMemory( StaticTask_t **ppxIdleTaskTCBBuffer, StackType_t **ppxIdleTaskStackBuffer, uint32_t *pulIdleTaskStackSize );

/* GetTimerTaskMemory prototype (linked to static allocation support) */
void vApplicationGetTimerTaskMemory( StaticTask_t **ppxTimerTaskTCBBuffer, StackType_t **ppxTimerTaskStackBuffer, uint32_t *pulTimerTaskStackSize );

/* Hook prototypes */
void vApplicationIdleHook(void);

/* USER CODE BEGIN 2 */
__weak void vApplicationIdleHook( void )
{
   /* vApplicationIdleHook() will only be called if configUSE_IDLE_HOOK is set
   to 1 in FreeRTOSConfig.h. It will be called on each iteration of the idle
   task. It is essential that code added to this hook function never attempts
   to block in any way (for example, call xQueueReceive() with a block time
   specified, or call vTaskDelay()). If the application makes use of the
   vTaskDelete() API function (as this demo application does) then it is also
   important that vApplicationIdleHook() is permitted to return to its calling
   function, because it is the responsibility of the idle task to clean up
   memory allocated by the kernel to any task that has since been deleted. */
}
/* USER CODE END 2 */

/* USER CODE BEGIN GET_IDLE_TASK_MEMORY */
static StaticTask_t xIdleTaskTCBBuffer;
static StackType_t xIdleStack[configMINIMAL_STACK_SIZE];

void vApplicationGetIdleTaskMemory( StaticTask_t **ppxIdleTaskTCBBuffer, StackType_t **ppxIdleTaskStackBuffer, uint32_t *pulIdleTaskStackSize )
{
  *ppxIdleTaskTCBBuffer = &xIdleTaskTCBBuffer;
  *ppxIdleTaskStackBuffer = &xIdleStack[0];
  *pulIdleTaskStackSize = configMINIMAL_STACK_SIZE;
  /* place for user code */
}
/* USER CODE END GET_IDLE_TASK_MEMORY */

/* USER CODE BEGIN GET_TIMER_TASK_MEMORY */
static StaticTask_t xTimerTaskTCBBuffer;
static StackType_t xTimerStack[configTIMER_TASK_STACK_DEPTH];

void vApplicationGetTimerTaskMemory( StaticTask_t **ppxTimerTaskTCBBuffer, StackType_t **ppxTimerTaskStackBuffer, uint32_t *pulTimerTaskStackSize )
{
  *ppxTimerTaskTCBBuffer = &xTimerTaskTCBBuffer;
  *ppxTimerTaskStackBuffer = &xTimerStack[0];
  *pulTimerTaskStackSize = configTIMER_TASK_STACK_DEPTH;
  /* place for user code */
}
/* USER CODE END GET_TIMER_TASK_MEMORY */
